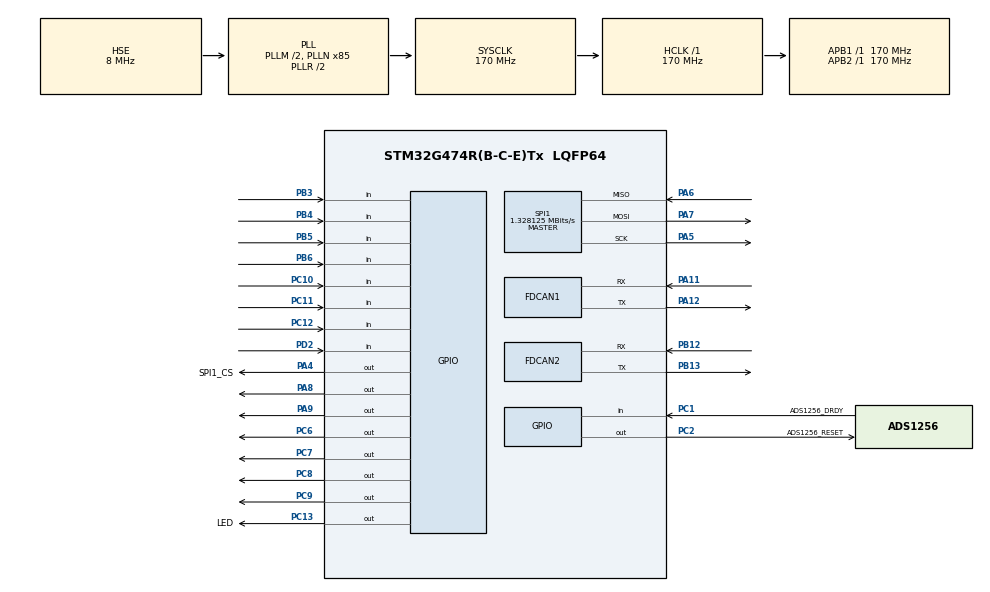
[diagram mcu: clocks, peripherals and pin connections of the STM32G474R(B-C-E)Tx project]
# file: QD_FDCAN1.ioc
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FDCAN1.AutoRetransmission=ENABLE
FDCAN1.CalculateBaudRateNominal=999999
FDCAN1.CalculateTimeBitNominal=1000
FDCAN1.CalculateTimeQuantumNominal=29.411764705882355
FDCAN1.ClockDivider=FDCAN_CLOCK_DIV1
FDCAN1.DataPrescaler=5
FDCAN1.DataSyncJumpWidth=9
FDCAN1.DataTimeSeg1=24
FDCAN1.DataTimeSeg2=9
FDCAN1.NominalPrescaler=5
FDCAN1.NominalSyncJumpWidth=9
FDCAN1.NominalTimeSeg1=24
FDCAN1.NominalTimeSeg2=9
FDCAN1.StdFiltersNbr=1
FDCAN2.AutoRetransmission=ENABLE
FDCAN2.CalculateBaudRateNominal=999999
FDCAN2.CalculateTimeBitNominal=1000
FDCAN2.CalculateTimeQuantumNominal=29.411764705882355
FDCAN2.DataPrescaler=5
FDCAN2.DataSyncJumpWidth=9
FDCAN2.DataTimeSeg1=24
FDCAN2.DataTimeSeg2=9
FDCAN2.Mode=FDCAN_MODE_NORMAL
FDCAN2.NominalPrescaler=5
FDCAN2.NominalSyncJumpWidth=9
FDCAN2.NominalTimeSeg1=24
FDCAN2.NominalTimeSeg2=9
FDCAN2.ProtocolException=DISABLE
FDCAN2.StdFiltersNbr=1
Mcu.Family=STM32G4
Mcu.Name=STM32G474R(B-C-E)Tx
Mcu.Package=LQFP64
NVIC.FDCAN1_IT0_IRQn=true\:0\:0\:false\:false\:true\:true\:true\:true
NVIC.FDCAN2_IT0_IRQn=true\:0\:0\:false\:false\:true\:true\:true\:true
NVIC.PriorityGroup=NVIC_PRIORITYGROUP_4
NVIC.TIM2_IRQn=true\:0\:0\:false\:false\:true\:true\:true\:true
NVIC.TIM3_IRQn=true\:0\:0\:false\:false\:true\:true\:true\:true
NVIC.TIM4_IRQn=true\:0\:0\:false\:false\:true\:true\:true\:true
NVIC.TIM5_IRQn=true\:0\:0\:false\:false\:true\:true\:true\:true
PA11.Mode=FDCAN_Activate
PA11.Signal=FDCAN1_RX
PA12.Mode=FDCAN_Activate
PA12.Signal=FDCAN1_TX
PA13.Mode=Serial_Wire
PA13.Signal=SYS_JTMS-SWDIO
PA14.Mode=Serial_Wire
PA14.Signal=SYS_JTCK-SWCLK
PA4.GPIO_Label=SPI1_CS
PA4.GPIO_PuPd=GPIO_PULLUP
PA4.GPIO_Speed=GPIO_SPEED_FREQ_VERY_HIGH
PA4.PinState=GPIO_PIN_SET
PA4.Signal=GPIO_Output
PA5.Mode=Full_Duplex_Master
PA5.Signal=SPI1_SCK
PA6.Mode=Full_Duplex_Master
PA6.Signal=SPI1_MISO
PA7.Mode=Full_Duplex_Master
PA7.Signal=SPI1_MOSI
PA8.GPIO_PuPd=GPIO_PULLDOWN
PA8.GPIO_Speed=GPIO_SPEED_FREQ_VERY_HIGH
PA8.Signal=GPIO_Output
PA9.GPIO_PuPd=GPIO_PULLDOWN
PA9.GPIO_Speed=GPIO_SPEED_FREQ_VERY_HIGH
PA9.Signal=GPIO_Output
PB12.GPIO_PuPd=GPIO_PULLUP
PB12.GPIO_Speed=GPIO_SPEED_FREQ_VERY_HIGH
PB12.Mode=FDCAN_Activate
PB12.Signal=FDCAN2_RX
PB13.GPIO_PuPd=GPIO_PULLUP
PB13.GPIO_Speed=GPIO_SPEED_FREQ_VERY_HIGH
PB13.Mode=FDCAN_Activate
PB13.Signal=FDCAN2_TX
PB3.GPIO_PuPd=GPIO_PULLDOWN
PB3.Signal=GPIO_Input
PB4.GPIO_PuPd=GPIO_PULLDOWN
PB4.Signal=GPIO_Input
PB5.GPIO_PuPd=GPIO_PULLDOWN
PB5.Signal=GPIO_Input
PB6.GPIO_PuPd=GPIO_PULLDOWN
PB6.Signal=GPIO_Input
PC1.GPIO_Label=ADS1256_DRDY
PC1.GPIO_PuPd=GPIO_PULLUP
PC1.Signal=GPIO_Input
PC10.GPIO_PuPd=GPIO_PULLDOWN
PC10.Signal=GPIO_Input
PC11.GPIO_PuPd=GPIO_PULLDOWN
PC11.Signal=GPIO_Input
PC12.GPIO_PuPd=GPIO_PULLDOWN
PC12.Signal=GPIO_Input
PC13.GPIO_Label=LED
PC13.GPIO_PuPd=GPIO_PULLDOWN
PC13.Signal=GPIO_Output
PC2.GPIO_Label=ADS1256_RESET
PC2.GPIO_Speed=GPIO_SPEED_FREQ_VERY_HIGH
PC2.Signal=GPIO_Output
PC6.GPIO_PuPd=GPIO_PULLDOWN
PC6.GPIO_Speed=GPIO_SPEED_FREQ_VERY_HIGH
PC6.Signal=GPIO_Output
PC7.GPIO_PuPd=GPIO_PULLDOWN
PC7.GPIO_Speed=GPIO_SPEED_FREQ_VERY_HIGH
PC7.Signal=GPIO_Output
PC8.GPIO_PuPd=GPIO_PULLDOWN
PC8.GPIO_Speed=GPIO_SPEED_FREQ_VERY_HIGH
PC8.Signal=GPIO_Output
PC9.GPIO_PuPd=GPIO_PULLDOWN
PC9.GPIO_Speed=GPIO_SPEED_FREQ_VERY_HIGH
PC9.Signal=GPIO_Output
PD2.GPIO_PuPd=GPIO_PULLDOWN
PD2.Signal=GPIO_Input
PF0-OSC_IN.Mode=HSE-External-Oscillator
PF0-OSC_IN.Signal=RCC_OSC_IN
PF1-OSC_OUT.Mode=HSE-External-Oscillator
PF1-OSC_OUT.Signal=RCC_OSC_OUT
ProjectManager.HeapSize=0x200
ProjectManager.StackSize=0x400
ProjectManager.TargetToolchain=MDK-ARM V5.32
RCC.ADC12Freq_Value=170000000
RCC.ADC345Freq_Value=170000000
RCC.AHBFreq_Value=170000000
RCC.APB1Freq_Value=170000000
RCC.APB1TimFreq_Value=170000000
RCC.APB2Freq_Value=170000000
RCC.APB2TimFreq_Value=170000000
RCC.CortexFreq_Value=170000000
RCC.EXTERNAL_CLOCK_VALUE=12288000
RCC.HCLKFreq_Value=170000000
RCC.HSE_VALUE=8000000
RCC.HSI48_VALUE=48000000
RCC.HSI_VALUE=16000000
RCC.LSE_VALUE=32768
RCC.PLLM=RCC_PLLM_DIV2
RCC.PLLN=85
RCC.PLLSourceVirtual=RCC_PLLSOURCE_HSE
RCC.SYSCLKFreq_VALUE=170000000
RCC.SYSCLKSource=RCC_SYSCLKSOURCE_PLLCLK
RCC.USBFreq_Value=170000000
RCC.VCOOutputFreq_Value=340000000
SPI1.BaudRatePrescaler=SPI_BAUDRATEPRESCALER_128
SPI1.CLKPhase=SPI_PHASE_2EDGE
SPI1.CalculateBaudRate=1.328125 MBits/s
SPI1.DataSize=SPI_DATASIZE_8BIT
SPI1.Direction=SPI_DIRECTION_2LINES
SPI1.Mode=SPI_MODE_MASTER
SPI1.VirtualType=VM_MASTER
TIM2.PeriodNoDither=1250-1
TIM2.Prescaler=168-1
TIM3.PeriodNoDither=1000-1
TIM3.Prescaler=168-1
TIM4.PeriodNoDither=1250-1
TIM4.Prescaler=168-1
TIM5.PeriodNoDither=1250-1
TIM5.Prescaler=168-1
VP_SYS_VS_DBSignals.Mode=DisableDeadBatterySignals
VP_TIM2_VS_ClockSourceINT.Mode=Internal
VP_TIM3_VS_ClockSourceINT.Mode=Internal
VP_TIM4_VS_ClockSourceINT.Mode=Internal
VP_TIM5_VS_ClockSourceINT.Mode=Internal
board=custom

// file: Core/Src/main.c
/* USER CODE BEGIN Header */
/**
  ******************************************************************************
  * @file           : main.c
  * @brief          : Main program body
  ******************************************************************************
  * @attention
  *
  * Copyright (c) 2025 STMicroelectronics.
  * All rights reserved.
  *
  * This software is licensed under terms that can be found in the LICENSE file
  * in the root directory of this software component.
  * If no LICENSE file comes with this software, it is provided AS-IS.
  *
  ******************************************************************************
  */
/* USER CODE END Header */
#include "main.h"
#include "fdcan.h"
#include "spi.h"
#include "tim.h"
#include "gpio.h"

/* USER CODE BEGIN Includes */
#include "bsp_can.h"
#include "ADS1256.h"
#include "Valve.h"
#include "PositionSwitch.h"
#include "task.h"
/* USER CODE END Includes */

void SystemClock_Config(void);

/* USER CODE BEGIN 0 */

uint8_t RESET_COUNT = 0;//ADS1256_RESET
uint8_t ADS1256_INIT_FLAG = 0;//ADS1256_INIT
uint8_t CHANNEL_SWITCH =0;//

//ADS1256
long double CESHI0;
long double CESHI1;
long double CESHI2;
long double CESHI3;
long double CESHI4;
long double CESHI5;
long double CESHI6;
long double CESHI7;
uint16_t  ket0,ket1,ket2,ket3,ket4,ket5,ket6,ket7;

uint16_t ucLedCnt = 0;

uint16_t TempValveStat = 0;

uint8_t   ucKeyScanFlag = 0;

uint8_t   aucKeyScanCnt[12] = {0};
uint8_t   aucDisShakeCnt[12] = {0};
uint8_t   aucDisShakeFlag[12] = {0};
uint8_t   aucKeyStatTemp[12]={0};
uint16_t  usKeyStat = 0;

uint8_t ucKeyNum = 0;
uint8_t DT35_TxData[16] = {0};
uint8_t KEY_TxData[1] = {0};
uint8_t Valve_RxData[2] = {0};
//DT35 ID 0x21
int16_t DTID = 0x210;
int16_t XCID = 0x20;
int16_t VEID = 0x211;

uint16_t System_cnt = 0;
uint16_t CAN_cnt = 0;
uint16_t CAN_Fps = 0;
uint16_t VAL_COM_cnt = 0;
uint16_t VAL_COM_Fps = 0;
uint16_t DT35_cnt = 0;
uint16_t DT35_Fps = 0;
uint16_t VAL_CON_cnt = 0;
uint16_t VAL_CON_Fps = 0;

uint8_t key_states[8]={0};
//uint8_t Can_rxBuffer1[8] = {0};
//uint8_t RxData[8] = {0};

volatile uint8_t bCANDataTask = 0;
volatile uint8_t bGetDistanceTask = 0;
volatile uint8_t bValveControlTask = 0;

uint16_t usCANDataCounter = 0;
uint16_t usGetDistanceCounter = 0;
uint16_t usValveControlCounter = 0;

/* USER CODE END 0 */

int main(void)
{

  /* MCU Configuration--------------------------------------------------------*/

  /* Reset of all peripherals, Initializes the Flash interface and the Systick. */
  HAL_Init();

  /* Configure the system clock */
  SystemClock_Config();

  /* Initialize all configured peripherals */
  MX_GPIO_Init();
  MX_FDCAN1_Init();
  MX_FDCAN2_Init();
  MX_SPI1_Init();
  MX_TIM2_Init();
  MX_TIM3_Init();
  MX_TIM4_Init();
  MX_TIM5_Init();
  /* USER CODE BEGIN 2 */
//	HAL_FDCAN_Start(&hfdcan1);
	HAL_TIM_Base_Start_IT(&htim2);
	HAL_TIM_Base_Start_IT(&htim3);
	HAL_TIM_Base_Start_IT(&htim4);
	HAL_TIM_Base_Start_IT(&htim5);
//	HAL_FDCAN_ActivateNotification(&hfdcan1, FDCAN_IT_RX_FIFO0_NEW_MESSAGE, 0);
	CAN_INIT();
	ADS1256_Init();

  /* USER CODE END 2 */

  /* Infinite loop */
  while (1)
  {

    /* USER CODE BEGIN 3 */
		    if (bValveControlTask)
    {
        bValveControlTask = 0;
        VALVE_CONTROL();
	      VAL_CON_cnt++;
    }
    if (bCANDataTask)
    {
        bCANDataTask = 0;
        CAN_DATA();
			  CAN_cnt ++;
    }

    if (bGetDistanceTask)//
    {
        bGetDistanceTask = 0;
        GET_DISTANCE();
        DT35_cnt ++;
    }

//		HAL_Delay(1);
  }
  /* USER CODE END 3 */
}

void SystemClock_Config(void)
{
  RCC_OscInitTypeDef RCC_OscInitStruct = {0};
  RCC_ClkInitTypeDef RCC_ClkInitStruct = {0};

  /** Configure the main internal regulator output voltage
  */
  HAL_PWREx_ControlVoltageScaling(PWR_REGULATOR_VOLTAGE_SCALE1_BOOST);

  /** Initializes the RCC Oscillators according to the specified parameters
  * in the RCC_OscInitTypeDef structure.
  */
  RCC_OscInitStruct.OscillatorType = RCC_OSCILLATORTYPE_HSE;
  RCC_OscInitStruct.HSEState = RCC_HSE_ON;
  RCC_OscInitStruct.PLL.PLLState = RCC_PLL_ON;
  RCC_OscInitStruct.PLL.PLLSource = RCC_PLLSOURCE_HSE;
  RCC_OscInitStruct.PLL.PLLM = RCC_PLLM_DIV2;
  RCC_OscInitStruct.PLL.PLLN = 85;
  RCC_OscInitStruct.PLL.PLLP = RCC_PLLP_DIV2;
  RCC_OscInitStruct.PLL.PLLQ = RCC_PLLQ_DIV2;
  RCC_OscInitStruct.PLL.PLLR = RCC_PLLR_DIV2;
  if (HAL_RCC_OscConfig(&RCC_OscInitStruct) != HAL_OK)
  {
    Error_Handler();
  }

  /** Initializes the CPU, AHB and APB buses clocks
  */
  RCC_ClkInitStruct.ClockType = RCC_CLOCKTYPE_HCLK|RCC_CLOCKTYPE_SYSCLK
                              |RCC_CLOCKTYPE_PCLK1|RCC_CLOCKTYPE_PCLK2;
  RCC_ClkInitStruct.SYSCLKSource = RCC_SYSCLKSOURCE_PLLCLK;
  RCC_ClkInitStruct.AHBCLKDivider = RCC_SYSCLK_DIV1;
  RCC_ClkInitStruct.APB1CLKDivider = RCC_HCLK_DIV1;
  RCC_ClkInitStruct.APB2CLKDivider = RCC_HCLK_DIV1;

  if (HAL_RCC_ClockConfig(&RCC_ClkInitStruct, FLASH_LATENCY_4) != HAL_OK)
  {
    Error_Handler();
  }
}

/* USER CODE BEGIN 4 */
void HAL_TIM_PeriodElapsedCallback(TIM_HandleTypeDef *htim)
{

    if (htim->Instance == TIM2)
    {

        usCANDataCounter++;
        if (usCANDataCounter >= 1)  // 1ms
        {
            bCANDataTask = 1;
            usCANDataCounter = 0;
        }

    }

		if (htim->Instance == TIM3)
		{
			System_cnt++;
			if(System_cnt>=1000)
			{
					CAN_Fps=CAN_cnt;
					CAN_cnt = 0;
					DT35_Fps=DT35_cnt;
					DT35_cnt = 0;
					VAL_CON_Fps = VAL_CON_cnt;
					VAL_CON_cnt=0;
				  VAL_COM_Fps = VAL_COM_cnt;
          VAL_COM_cnt =0;
					System_cnt = 0;
			}
		}

		if (htim->Instance == TIM4){
			usValveControlCounter++;
        if (usValveControlCounter >= 1)
        {
            bValveControlTask = 1;
            usValveControlCounter = 0;
        }
		}
		if (htim->Instance == TIM5){
			 usGetDistanceCounter++;
        if (usGetDistanceCounter >= 1)  // 1ms
        {
            bGetDistanceTask = 1;
            usGetDistanceCounter = 0;
        }
		}
}
/* USER CODE END 4 */

void Error_Handler(void)
{
  __disable_irq();
  while (1)
  {
  }
}
